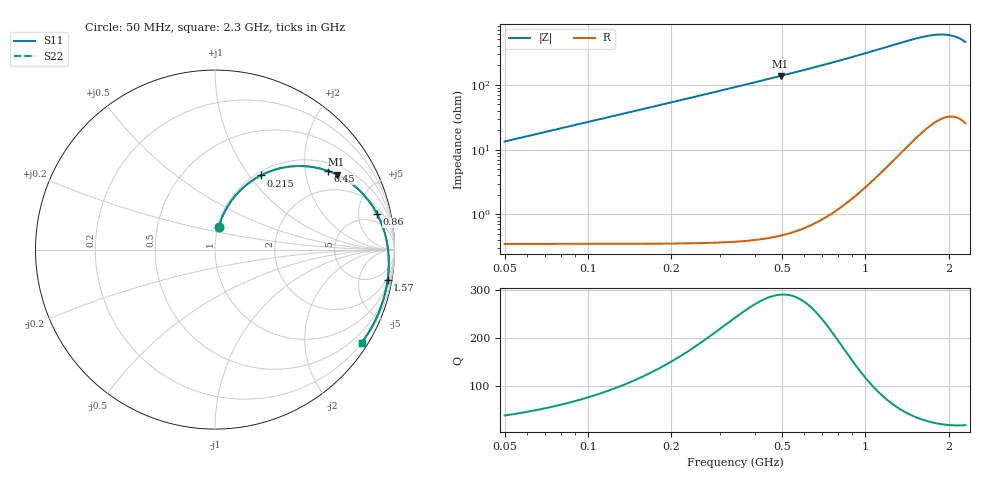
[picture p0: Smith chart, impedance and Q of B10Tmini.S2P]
! Coilcraft B10T_ Mini Spring Air Core Inductor
! 30 May 2003
# MHZ S MA R 50
!Freq  MagS11  AngS11  MagS21  AngS21  MagS12  AngS12  MagS22  AngS22
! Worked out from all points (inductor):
!   451 points, 50 MHz to 2.3 GHz, reference 50 ohm
!   read as one part in series: L = 42.4 nH near 60 MHz
!   highest Q = 290 at 495 MHz (marker M1), where L = 44 nH
!   S11 on the Smith chart (normalised r, x): 50 MHz: 1.01, +0.26; 215 MHz: 1.05, +1.14; 450 MHz: 1.25, +2.64; 860 MHz: 2.99, +8.19; 1.57 GHz: 2, -11; 2.3 GHz: 0.21, -3.43
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50  0.1272 80.6  0.9884 -7.8  0.9884 -7.8  0.1272 80.6
85  0.2131 75.9  0.9736 -13.2  0.9736 -13.2  0.2132 75.9
120  0.2945 71.0  0.9523 -18.4  0.9523 -18.4  0.2947 71.0
165  0.3909 64.8  0.9172 -24.8  0.9172 -24.8  0.3911 64.8
215  0.4852 58.3  0.8712 -31.3  0.8712 -31.3  0.4855 58.3
260  0.5585 53.0  0.8264 -36.7  0.8264 -36.7  0.5588 53.0
310  0.6277 47.6  0.7754 -42.2  0.7754 -42.2  0.628 47.6
365  0.6906 42.2  0.7203 -47.6  0.7203 -47.6  0.6909 42.2
425  0.7458 37.0  0.6631 -52.8  0.6631 -52.8  0.7462 37.0
450  0.7654 35.0  0.6405 -54.8  0.6405 -54.8  0.7658 35.0
495  0.7963 31.7  0.6018 -58.1  0.6018 -58.1  0.7967 31.7
635  0.8653 22.9  0.4974 -66.8  0.4974 -66.8  0.8658 22.9
800  0.9132 14.8  0.4021 -74.9  0.4021 -74.9  0.9136 14.8
860  0.925 12.3  0.3735 -77.3  0.3735 -77.3  0.9255 12.3
1005  0.946 6.8  0.3149 -82.6  0.3149 -82.6  0.9465 6.8
1175  0.9613 1.2  0.2613 -88.0  0.2613 -88.0  0.9618 1.2
1550  0.9762 -9.6  0.1861 -97.8  0.1861 -97.8  0.9767 -9.6
1570  0.9766 -10.1  0.1835 -98.2  0.1835 -98.2  0.9771 -10.1
1755  0.9783 -15.2  0.1657 -102.7  0.1657 -102.7  0.9788 -15.2
1925  0.9777 -20.0  0.1603 -106.9  0.1603 -106.9  0.9782 -20.0
2110  0.9746 -25.7  0.1684 -112.2  0.1684 -112.2  0.9751 -25.7
2300  0.9673 -32.4  0.197 -118.9  0.197 -118.9  0.9678 -32.4
